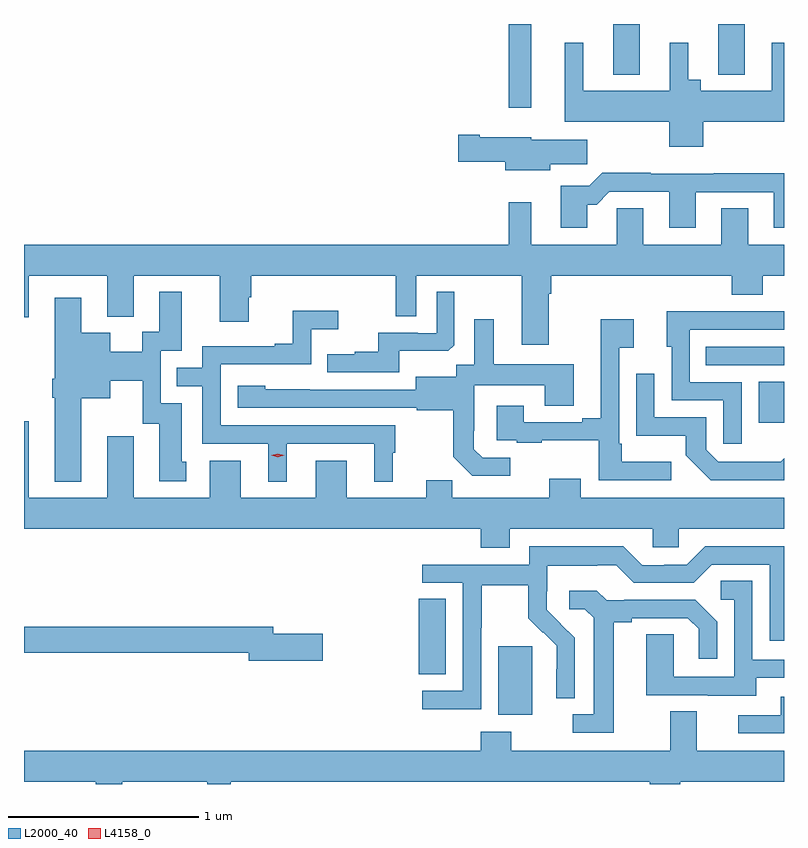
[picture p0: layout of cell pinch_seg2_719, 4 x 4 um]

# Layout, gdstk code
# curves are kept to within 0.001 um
import gdstk
lib = gdstk.Library(unit=1e-6, precision=1e-09)
def R(c, l, rs):  # rectangles x0, y0, x1, y1
    for r in rs: c.add(gdstk.rectangle(r[:2], r[2:], *l))
def P(c, l, *ps):  # polygons
    for p in ps: c.add(gdstk.Polygon(p, *l))
L2000_40 = (2000, 40)
L4158_0 = (4158, 0)

pinch_seg2_719 = lib.new_cell('pinch_seg2_719')
R(pinch_seg2_719, L2000_40, [(819.557,659.978,819.736,660.339), (819.14,660.19,819.283,660.587), (820.928,661.514,821.062,661.729), (820.651,661.818,821.062,661.914), (819.612,663.171,819.733,663.613), (820.163,663.347,820.303,663.613), (820.715,663.347,820.855,663.613)])
P(pinch_seg2_719, L2000_40, [(820.637,663.098),(821.062,663.098),(821.062,663.514),(820.997,663.514),(820.997,663.262),(820.624,663.262),(820.624,663.319),(820.558,663.319),(820.558,663.514),(820.46,663.514),(820.46,663.262),(820.006,663.262),(820.006,663.514),(819.908,663.514),(819.908,663.098),(820.459,663.098),(820.459,662.967),(820.637,662.967)],
  [(819.832,662.875),(820.027,662.875),(820.027,663.004),(819.732,663.004),(819.732,663.016),(819.46,663.016),(819.46,663.029),(819.348,663.029),(819.348,662.887),(819.596,662.887),(819.596,662.843),(819.832,662.843)],
  [(820.027,662.663),(820.076,662.663),(820.143,662.73),(820.457,662.73),(820.457,662.541),(820.597,662.541),(820.597,662.727),(821.009,662.727),(821.009,662.541),(821.062,662.541),(821.062,662.828),(820.693,662.828),(820.693,662.824),(820.361,662.824),(820.361,662.831),(820.106,662.831),(820.036,662.761),(819.887,662.761),(819.887,662.541),(820.027,662.541)],
  [(819.823,662.192),(819.836,662.192),(819.836,662.288),(820.787,662.288),(820.787,662.189),(820.951,662.189),(820.951,662.288),(821.062,662.288),(821.062,662.452),(820.873,662.452),(820.873,662.642),(820.733,662.642),(820.733,662.452),(820.321,662.452),(820.321,662.642),(820.182,662.642),(820.182,662.452),(819.733,662.452),(819.733,662.674),(819.612,662.674),(819.612,662.452),(817.062,662.452),(817.062,662.07),(817.087,662.07),(817.087,662.288),(817.499,662.288),(817.499,662.072),(817.639,662.072),(817.639,662.288),(818.093,662.288),(818.093,662.046),(818.245,662.046),(818.245,662.175),(818.258,662.175),(818.258,662.288),(819.018,662.288),(819.018,662.074),(819.126,662.074),(819.126,662.288),(819.683,662.288),(819.683,661.926),(819.823,661.926)],
  [(819.037,661.892),(819.295,661.892),(819.327,661.923),(819.327,662.203),(819.234,662.203),(819.234,661.986),(819.134,661.986),(819.134,661.989),(818.927,661.989),(818.927,661.888),(818.803,661.888),(818.803,661.876),(818.659,661.876),(818.659,661.779),(819.037,661.779)],
  [(817.363,661.643),(817.516,661.643),(817.516,661.736),(817.686,661.736),(817.686,661.509),(817.775,661.509),(817.775,661.206),(817.915,661.206),(817.915,661.308),(817.891,661.308),(817.891,661.617),(817.782,661.617),(817.782,661.893),(817.891,661.893),(817.891,662.203),(817.775,662.203),(817.775,661.994),(817.685,661.994),(817.685,661.888),(817.516,661.888),(817.516,661.987),(817.363,661.987),(817.363,662.173),(817.223,662.173),(817.223,661.747),(817.211,661.747),(817.211,661.647),(817.223,661.647),(817.223,661.205),(817.363,661.205)],
  [(818.446,661.404),(818.906,661.404),(818.906,661.205),(819.004,661.205),(819.004,661.356),(819.016,661.356),(819.016,661.5),(818.097,661.5),(818.097,661.821),(818.574,661.821),(818.574,662.006),(818.716,662.006),(818.716,662.105),(818.476,662.105),(818.476,661.93),(818.381,661.93),(818.381,661.917),(818.001,661.917),(818.001,661.803),(817.867,661.803),(817.867,661.707),(818.001,661.707),(818.001,661.404),(818.348,661.404),(818.348,661.205),(818.446,661.205)],
  [(820.839,661.728),(820.566,661.728),(820.566,662.004),(821.062,662.004),(821.062,662.1),(820.663,662.1),(820.663,662.102),(820.445,662.102),(820.445,661.914),(820.47,661.914),(820.47,661.632),(820.743,661.632),(820.743,661.404),(820.839,661.404)],
  [(820.468,661.309),(820.207,661.309),(820.207,661.405),(820.194,661.405),(820.194,661.91),(820.27,661.91),(820.27,662.059),(820.097,662.059),(820.097,661.537),(820.001,661.537),(820.001,661.518),(819.691,661.518),(819.691,661.603),(819.551,661.603),(819.551,661.422),(819.655,661.422),(819.655,661.41),(819.787,661.41),(819.787,661.421),(820.086,661.421),(820.086,661.212),(820.468,661.212)],
  [(819.622,661.329),(819.477,661.329),(819.43,661.376),(819.43,661.471),(819.432,661.471),(819.432,661.712),(819.803,661.712),(819.803,661.603),(819.955,661.603),(819.955,661.822),(819.535,661.822),(819.535,662.059),(819.431,662.059),(819.431,661.82),(819.336,661.82),(819.336,661.756),(819.125,661.756),(819.125,661.689),(818.331,661.69),(818.331,661.708),(818.187,661.708),(818.187,661.593),(819.129,661.593),(819.129,661.581),(819.321,661.581),(819.321,661.335),(819.421,661.235),(819.622,661.235)],
  [(821.062,661.327),(821.045,661.31),(820.94,661.31),(820.94,661.308),(820.716,661.308),(820.653,661.371),(820.653,661.542),(820.38,661.542),(820.38,661.771),(820.284,661.771),(820.284,661.445),(820.546,661.445),(820.546,661.343),(820.676,661.212),(821.062,661.212)],
  [(819.619,660.956),(820.371,660.956),(820.371,660.858),(820.509,660.858),(820.509,660.956),(821.062,660.956),(821.062,661.12),(819.991,661.12),(819.991,661.219),(819.827,661.219),(819.827,661.12),(819.317,661.12),(819.317,661.211),(819.179,661.211),(819.179,661.12),(818.761,661.12),(818.761,661.315),(818.597,661.315),(818.597,661.12),(818.203,661.12),(818.203,661.315),(818.039,661.315),(818.039,661.12),(817.639,661.12),(817.639,661.444),(817.499,661.444),(817.499,661.12),(817.087,661.12),(817.087,661.522),(817.062,661.522),(817.062,660.956),(819.467,660.956),(819.467,660.857),(819.619,660.857)],
  [(819.468,660.436),(819.471,660.436),(819.471,660.66),(819.715,660.66),(819.715,660.485),(819.792,660.408),(819.795,660.411),(819.866,660.341),(819.866,660.218),(819.864,660.218),(819.864,660.064),(819.96,660.064),(819.96,660.382),(819.814,660.53),(819.814,660.627),(819.816,660.627),(819.816,660.761),(820.079,660.761),(820.079,660.765),(820.179,660.765),(820.272,660.672),(820.587,660.672),(820.683,660.768),(820.986,660.768),(820.986,660.366),(821.062,660.366),(821.062,660.864),(820.647,660.864),(820.551,660.768),(820.433,660.768),(820.433,660.765),(820.317,660.765),(820.217,660.865),(819.72,660.865),(819.72,660.768),(819.159,660.768),(819.159,660.672),(819.372,660.672),(819.372,660.105),(819.159,660.105),(819.159,660.007),(819.468,660.007)],
  [(820.915,660.171),(821.062,660.171),(821.062,660.267),(820.896,660.267),(820.896,660.683),(820.728,660.683),(820.728,660.582),(820.8,660.582),(820.8,660.177),(820.482,660.177),(820.482,660.401),(820.337,660.401),(820.337,660.081),(820.661,660.081),(820.661,660.077),(820.915,660.077)],
  [(820.165,660.464),(820.261,660.464),(820.261,660.486),(820.556,660.486),(820.613,660.429),(820.613,660.273),(820.71,660.273),(820.71,660.466),(820.594,660.582),(820.222,660.582),(820.222,660.579),(820.128,660.579),(820.076,660.631),(819.933,660.631),(819.933,660.534),(820.014,660.534),(820.061,660.487),(820.061,659.979),(819.951,659.979),(819.951,659.883),(820.165,659.883)],
  [(818.635,660.404),(818.374,660.404),(818.374,660.44),(817.062,660.44),(817.062,660.304),(818.246,660.304),(818.246,660.262),(818.635,660.262)],
  [(821.062,660.072),(821.045,660.072),(821.045,659.976),(820.821,659.976),(820.821,659.88),(821.062,659.88)],
  [(817.578,659.624),(818.027,659.624),(818.027,659.613),(818.149,659.613),(818.149,659.624),(820.355,659.624),(820.355,659.613),(820.515,659.613),(820.515,659.624),(821.062,659.624),(821.062,659.788),(820.603,659.788),(820.603,659.996),(820.463,659.996),(820.463,659.788),(819.627,659.788),(819.627,659.887),(819.467,659.887),(819.467,659.788),(817.062,659.788),(817.062,659.624),(817.439,659.624),(817.439,659.613),(817.578,659.613)])
P(pinch_seg2_719, L4158_0, [(818.397,661.332),(818.362,661.342),(818.362,661.342),(818.362,661.342),(818.397,661.352),(818.432,661.342),(818.433,661.342),(818.432,661.342)])

lib.write_gds('pinch_seg2_719.gds')
